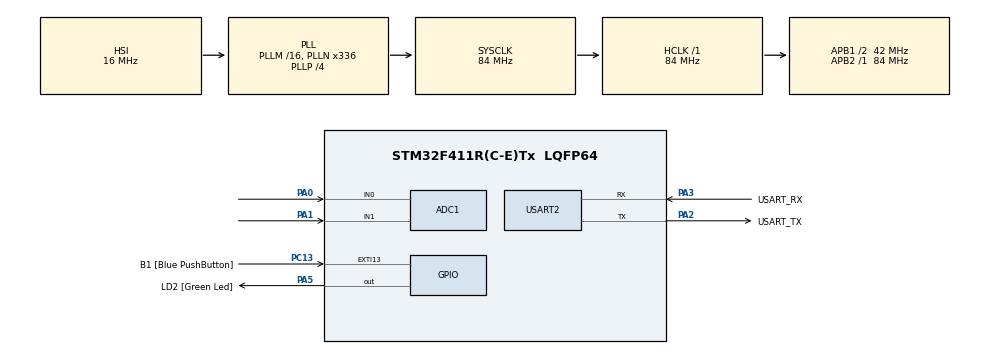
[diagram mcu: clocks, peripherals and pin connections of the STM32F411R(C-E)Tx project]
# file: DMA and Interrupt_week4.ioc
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ADC1.Channel-0\#ChannelRegularConversion=ADC_CHANNEL_0
ADC1.Channel-1\#ChannelRegularConversion=ADC_CHANNEL_1
ADC1.Channel-2\#ChannelRegularConversion=ADC_CHANNEL_TEMPSENSOR
ADC1.Channel-3\#ChannelRegularConversion=ADC_CHANNEL_VREFINT
ADC1.ContinuousConvMode=ENABLE
ADC1.DMAContinuousRequests=ENABLE
ADC1.InjNumberOfConversion=0
ADC1.NbrOfConversion=4
ADC1.NbrOfConversionFlag=1
ADC1.Rank-0\#ChannelRegularConversion=1
ADC1.Rank-1\#ChannelRegularConversion=2
ADC1.Rank-2\#ChannelRegularConversion=3
ADC1.Rank-3\#ChannelRegularConversion=4
ADC1.SamplingTime-0\#ChannelRegularConversion=ADC_SAMPLETIME_84CYCLES
ADC1.SamplingTime-1\#ChannelRegularConversion=ADC_SAMPLETIME_84CYCLES
ADC1.SamplingTime-2\#ChannelRegularConversion=ADC_SAMPLETIME_84CYCLES
ADC1.SamplingTime-3\#ChannelRegularConversion=ADC_SAMPLETIME_84CYCLES
ADC1.ScanConvMode=ENABLE
ADC1.master=1
Dma.ADC1.0.Direction=DMA_PERIPH_TO_MEMORY
Dma.ADC1.0.FIFOMode=DMA_FIFOMODE_DISABLE
Dma.ADC1.0.Instance=DMA2_Stream0
Dma.ADC1.0.MemDataAlignment=DMA_MDATAALIGN_WORD
Dma.ADC1.0.MemInc=DMA_MINC_ENABLE
Dma.ADC1.0.Mode=DMA_CIRCULAR
Dma.ADC1.0.PeriphDataAlignment=DMA_PDATAALIGN_WORD
Dma.ADC1.0.PeriphInc=DMA_PINC_DISABLE
Dma.ADC1.0.Priority=DMA_PRIORITY_LOW
Dma.Request0=ADC1
Mcu.Family=STM32F4
Mcu.Name=STM32F411R(C-E)Tx
Mcu.Package=LQFP64
NVIC.DMA2_Stream0_IRQn=true\:0\:0\:false\:false\:true\:false\:true
NVIC.EXTI15_10_IRQn=true\:0\:0\:false\:false\:true\:true\:true
NVIC.PriorityGroup=NVIC_PRIORITYGROUP_0
PA0-WKUP.Signal=ADCx_IN0
PA1.Signal=ADCx_IN1
PA13.GPIO_Label=TMS
PA13.Mode=Serial_Wire
PA13.Signal=SYS_JTMS-SWDIO
PA14.GPIO_Label=TCK
PA14.Mode=Serial_Wire
PA14.Signal=SYS_JTCK-SWCLK
PA2.GPIO_Label=USART_TX
PA2.Mode=Asynchronous
PA2.Signal=USART2_TX
PA3.GPIO_Label=USART_RX
PA3.Mode=Asynchronous
PA3.Signal=USART2_RX
PA5.GPIO_Label=LD2 [Green Led]
PA5.Signal=GPIO_Output
PB3.GPIO_Label=SWO
PB3.Signal=SYS_JTDO-SWO
PC13-ANTI_TAMP.GPIO_Label=B1 [Blue PushButton]
PC13-ANTI_TAMP.GPIO_ModeDefaultEXTI=GPIO_MODE_IT_RISING_FALLING
PC13-ANTI_TAMP.GPIO_PuPd=GPIO_PULLUP
PC13-ANTI_TAMP.Signal=GPXTI13
PC14-OSC32_IN.Mode=LSE-External-Oscillator
PC14-OSC32_IN.Signal=RCC_OSC32_IN
PC15-OSC32_OUT.Mode=LSE-External-Oscillator
PC15-OSC32_OUT.Signal=RCC_OSC32_OUT
PH0\ -\ OSC_IN.Mode=HSE-External-Clock-Source
PH0\ -\ OSC_IN.Signal=RCC_OSC_IN
PH1\ -\ OSC_OUT.Mode=HSE-External-Clock-Source
PH1\ -\ OSC_OUT.Signal=RCC_OSC_OUT
ProjectManager.HeapSize=0x200
ProjectManager.StackSize=0x400
ProjectManager.TargetToolchain=STM32CubeIDE
RCC.48MHZClocksFreq_Value=84000000
RCC.AHBFreq_Value=84000000
RCC.APB1CLKDivider=RCC_HCLK_DIV2
RCC.APB1Freq_Value=42000000
RCC.APB1TimFreq_Value=84000000
RCC.APB2Freq_Value=84000000
RCC.APB2TimFreq_Value=84000000
RCC.CortexFreq_Value=84000000
RCC.FLatency-AdvancedSettings=FLASH_LATENCY_2
RCC.HCLKFreq_Value=84000000
RCC.HSE_VALUE=8000000
RCC.HSI_VALUE=16000000
RCC.PLLN=336
RCC.PLLP=RCC_PLLP_DIV4
RCC.SYSCLKFreq_VALUE=84000000
RCC.SYSCLKSource=RCC_SYSCLKSOURCE_PLLCLK
RCC.VCOOutputFreq_Value=336000000
SH.ADCx_IN0.0=ADC1_IN0,IN0
SH.ADCx_IN1.0=ADC1_IN1,IN1
USART2.VirtualMode=VM_ASYNC
VP_ADC1_TempSens_Input.Mode=IN-TempSens
VP_ADC1_Vref_Input.Mode=IN-Vrefint
board=NUCLEO-F411RE

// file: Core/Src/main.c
/* USER CODE BEGIN Header */
/**
  ******************************************************************************
  * @file           : main.c
  * @brief          : Main program body
  ******************************************************************************
  * @attention
  *
  * Copyright (c) 2022 STMicroelectronics.
  * All rights reserved.
  *
  * This software is licensed under terms that can be found in the LICENSE file
  * in the root directory of this software component.
  * If no LICENSE file comes with this software, it is provided AS-IS.
  *
  ******************************************************************************
  */
/* USER CODE END Header */
#include "main.h"

ADC_HandleTypeDef hadc1;
DMA_HandleTypeDef hdma_adc1;

UART_HandleTypeDef huart2;

/* USER CODE BEGIN PV */
uint32_t ADCData[4] = {0};
uint32_t timestamp[2] = {0};
uint8_t status = 0;
uint32_t totaltime = 0;

uint64_t counter = 0;
/* USER CODE END PV */

void SystemClock_Config(void);
static void MX_GPIO_Init(void);
static void MX_USART2_UART_Init(void);
static void MX_DMA_Init(void);
static void MX_ADC1_Init(void);

int main(void)
{

  /* MCU Configuration--------------------------------------------------------*/

  /* Reset of all peripherals, Initializes the Flash interface and the Systick. */
  HAL_Init();

  /* Configure the system clock */
  SystemClock_Config();

  /* Initialize all configured peripherals */
  MX_GPIO_Init();
  MX_USART2_UART_Init();
  MX_DMA_Init();
  MX_ADC1_Init();
  /* USER CODE BEGIN 2 */
  HAL_ADC_Start_DMA(&hadc1, ADCData, 4); //ADCData = &ADCData[0]
  /* USER CODE END 2 */

  /* Infinite loop */
  while (1)
  {

    /* USER CODE BEGIN 3 */

//	  counter2 ++;
  }
  /* USER CODE END 3 */
}

void SystemClock_Config(void)
{
  RCC_OscInitTypeDef RCC_OscInitStruct = {0};
  RCC_ClkInitTypeDef RCC_ClkInitStruct = {0};

  /** Configure the main internal regulator output voltage
  */
  __HAL_RCC_PWR_CLK_ENABLE();
  __HAL_PWR_VOLTAGESCALING_CONFIG(PWR_REGULATOR_VOLTAGE_SCALE1);
  /** Initializes the RCC Oscillators according to the specified parameters
  * in the RCC_OscInitTypeDef structure.
  */
  RCC_OscInitStruct.OscillatorType = RCC_OSCILLATORTYPE_HSI;
  RCC_OscInitStruct.HSIState = RCC_HSI_ON;
  RCC_OscInitStruct.HSICalibrationValue = RCC_HSICALIBRATION_DEFAULT;
  RCC_OscInitStruct.PLL.PLLState = RCC_PLL_ON;
  RCC_OscInitStruct.PLL.PLLSource = RCC_PLLSOURCE_HSI;
  RCC_OscInitStruct.PLL.PLLM = 16;
  RCC_OscInitStruct.PLL.PLLN = 336;
  RCC_OscInitStruct.PLL.PLLP = RCC_PLLP_DIV4;
  RCC_OscInitStruct.PLL.PLLQ = 4;
  if (HAL_RCC_OscConfig(&RCC_OscInitStruct) != HAL_OK)
  {
    Error_Handler();
  }
  /** Initializes the CPU, AHB and APB buses clocks
  */
  RCC_ClkInitStruct.ClockType = RCC_CLOCKTYPE_HCLK|RCC_CLOCKTYPE_SYSCLK
                              |RCC_CLOCKTYPE_PCLK1|RCC_CLOCKTYPE_PCLK2;
  RCC_ClkInitStruct.SYSCLKSource = RCC_SYSCLKSOURCE_PLLCLK;
  RCC_ClkInitStruct.AHBCLKDivider = RCC_SYSCLK_DIV1;
  RCC_ClkInitStruct.APB1CLKDivider = RCC_HCLK_DIV2;
  RCC_ClkInitStruct.APB2CLKDivider = RCC_HCLK_DIV1;

  if (HAL_RCC_ClockConfig(&RCC_ClkInitStruct, FLASH_LATENCY_2) != HAL_OK)
  {
    Error_Handler();
  }
}

static void MX_ADC1_Init(void)
{

  ADC_ChannelConfTypeDef sConfig = {0};

  /** Configure the global features of the ADC (Clock, Resolution, Data Alignment and number of conversion)
  */
  hadc1.Instance = ADC1;
  hadc1.Init.ClockPrescaler = ADC_CLOCK_SYNC_PCLK_DIV4;
  hadc1.Init.Resolution = ADC_RESOLUTION_12B;
  hadc1.Init.ScanConvMode = ENABLE;
  hadc1.Init.ContinuousConvMode = ENABLE;
  hadc1.Init.DiscontinuousConvMode = DISABLE;
  hadc1.Init.ExternalTrigConvEdge = ADC_EXTERNALTRIGCONVEDGE_NONE;
  hadc1.Init.ExternalTrigConv = ADC_SOFTWARE_START;
  hadc1.Init.DataAlign = ADC_DATAALIGN_RIGHT;
  hadc1.Init.NbrOfConversion = 4;
  hadc1.Init.DMAContinuousRequests = ENABLE;
  hadc1.Init.EOCSelection = ADC_EOC_SINGLE_CONV;
  if (HAL_ADC_Init(&hadc1) != HAL_OK)
  {
    Error_Handler();
  }
  /** Configure for the selected ADC regular channel its corresponding rank in the sequencer and its sample time.
  */
  sConfig.Channel = ADC_CHANNEL_0;
  sConfig.Rank = 1;
  sConfig.SamplingTime = ADC_SAMPLETIME_84CYCLES;
  if (HAL_ADC_ConfigChannel(&hadc1, &sConfig) != HAL_OK)
  {
    Error_Handler();
  }
  /** Configure for the selected ADC regular channel its corresponding rank in the sequencer and its sample time.
  */
  sConfig.Channel = ADC_CHANNEL_1;
  sConfig.Rank = 2;
  if (HAL_ADC_ConfigChannel(&hadc1, &sConfig) != HAL_OK)
  {
    Error_Handler();
  }
  /** Configure for the selected ADC regular channel its corresponding rank in the sequencer and its sample time.
  */
  sConfig.Channel = ADC_CHANNEL_TEMPSENSOR;
  sConfig.Rank = 3;
  if (HAL_ADC_ConfigChannel(&hadc1, &sConfig) != HAL_OK)
  {
    Error_Handler();
  }
  /** Configure for the selected ADC regular channel its corresponding rank in the sequencer and its sample time.
  */
  sConfig.Channel = ADC_CHANNEL_VREFINT;
  sConfig.Rank = 4;
  if (HAL_ADC_ConfigChannel(&hadc1, &sConfig) != HAL_OK)
  {
    Error_Handler();
  }

}

static void MX_USART2_UART_Init(void)
{

  huart2.Instance = USART2;
  huart2.Init.BaudRate = 115200;
  huart2.Init.WordLength = UART_WORDLENGTH_8B;
  huart2.Init.StopBits = UART_STOPBITS_1;
  huart2.Init.Parity = UART_PARITY_NONE;
  huart2.Init.Mode = UART_MODE_TX_RX;
  huart2.Init.HwFlowCtl = UART_HWCONTROL_NONE;
  huart2.Init.OverSampling = UART_OVERSAMPLING_16;
  if (HAL_UART_Init(&huart2) != HAL_OK)
  {
    Error_Handler();
  }

}

static void MX_DMA_Init(void)
{

  /* DMA controller clock enable */
  __HAL_RCC_DMA2_CLK_ENABLE();

  /* DMA interrupt init */
  /* DMA2_Stream0_IRQn interrupt configuration */
  HAL_NVIC_SetPriority(DMA2_Stream0_IRQn, 0, 0);
  HAL_NVIC_EnableIRQ(DMA2_Stream0_IRQn);

}

static void MX_GPIO_Init(void)
{
  GPIO_InitTypeDef GPIO_InitStruct = {0};

  /* GPIO Ports Clock Enable */
  __HAL_RCC_GPIOC_CLK_ENABLE();
  __HAL_RCC_GPIOH_CLK_ENABLE();
  __HAL_RCC_GPIOA_CLK_ENABLE();
  __HAL_RCC_GPIOB_CLK_ENABLE();

  /*Configure GPIO pin Output Level */
  HAL_GPIO_WritePin(LD2_GPIO_Port, LD2_Pin, GPIO_PIN_RESET);

  /*Configure GPIO pin : B1_Pin */
  GPIO_InitStruct.Pin = B1_Pin;
  GPIO_InitStruct.Mode = GPIO_MODE_IT_RISING_FALLING;
  GPIO_InitStruct.Pull = GPIO_PULLUP;
  HAL_GPIO_Init(B1_GPIO_Port, &GPIO_InitStruct);

  /*Configure GPIO pin : LD2_Pin */
  GPIO_InitStruct.Pin = LD2_Pin;
  GPIO_InitStruct.Mode = GPIO_MODE_OUTPUT_PP;
  GPIO_InitStruct.Pull = GPIO_NOPULL;
  GPIO_InitStruct.Speed = GPIO_SPEED_FREQ_LOW;
  HAL_GPIO_Init(LD2_GPIO_Port, &GPIO_InitStruct);

  /* EXTI interrupt init*/
  HAL_NVIC_SetPriority(EXTI15_10_IRQn, 0, 0);
  HAL_NVIC_EnableIRQ(EXTI15_10_IRQn);

}

/* USER CODE BEGIN 4 */
//void HAL_GPIO_EXTI_Callback(uint16_t GPIO_Pin) //callback use with external interrupt
//{
//	if (GPIO_Pin == GPIO_PIN_13){
//		HAL_GPIO_TogglePin(LD2_GPIO_Port, LD2_Pin);
//	}
//} // toggle LED using interrupt

void HAL_GPIO_EXTI_Callback(uint16_t GPIO_Pin){
	if (GPIO_Pin == GPIO_PIN_13){
		if(status == 0){
			status = 1;
//			HAL_Delay(1000+((22695477*ADCData[0])+ADCData[1])%10000);
			timestamp[0] = HAL_GetTick();
			HAL_GPIO_WritePin(GPIOA, GPIO_PIN_5, GPIO_PIN_SET);
			while(HAL_GetTick() - timestamp[0] < 1000){
				counter = HAL_GetTick();
			}
			HAL_GPIO_TogglePin(GPIOA, GPIO_PIN_5);
			timestamp[0] = HAL_GetTick();
		}
		else{
			timestamp[1] = HAL_GetTick();
			totaltime = timestamp[1] - timestamp[0];
			status = 0;
		}
	}
}
/* USER CODE END 4 */

void Error_Handler(void)
{
  __disable_irq();
  while (1)
  {
  }
}
